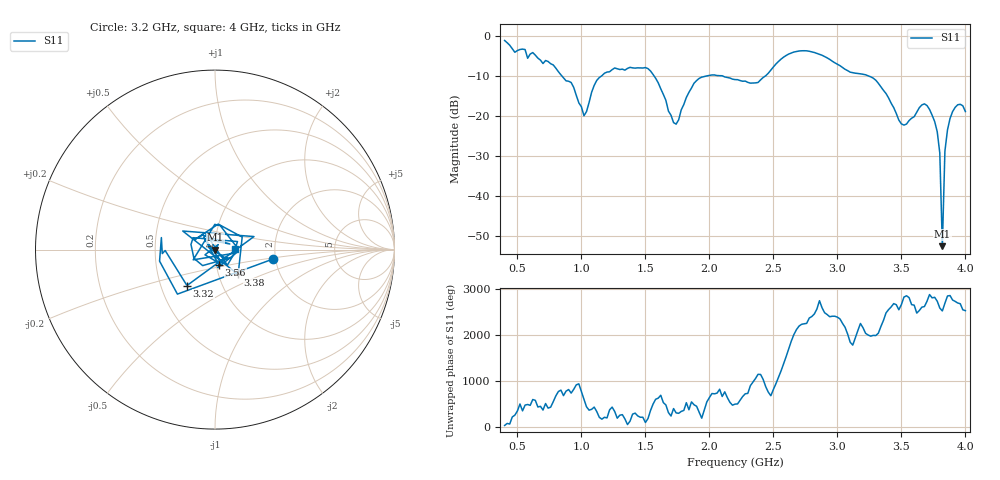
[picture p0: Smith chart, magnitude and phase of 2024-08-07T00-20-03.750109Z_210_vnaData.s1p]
!Created with skrf (http://scikit-rf.org).
# Hz S RI R 50.0
!freq ReS11 ImS11
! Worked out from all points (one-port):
!   181 points, 400 MHz to 4 GHz, reference 50 ohm
!   lowest |S11| = -52.6 dB at 3.82 GHz (marker M1), VSWR 1.00, Z = 50.2 - j0.0211 ohm
!   |S11| at or under -10 dB: 1.566 GHz to 1.99 GHz (424 MHz wide, 23.8 % of centre); 2.086 GHz to 2.441 GHz (354.4 MHz wide, 15.7 % of centre); 3.238 GHz to end of sweep (the widest 3 of 4)
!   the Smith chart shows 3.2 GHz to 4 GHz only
!   S11 on the Smith chart (normalised r, x): 3.2 GHz: 1.95, -0.23; 3.32 GHz: 0.68, -0.29; 3.38 GHz: 1.24, -0.36; 3.56 GHz: 1.03, -0.17; 4 GHz: 1.25, +0.01
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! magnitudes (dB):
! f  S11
! 400 MHz  -1.2
! 860 MHz  -10.5
! 920 MHz  -11.7
! 1.02 GHz  -20.0
! 1.12 GHz  -11.2
! 1.3 GHz  -8.5
! 1.52 GHz  -8.2
! 1.6 GHz  -11.8
! 1.72 GHz  -21.7
! 1.76 GHz  -21.0
! 1.92 GHz  -10.7
! 2.2 GHz  -11.0
! 2.38 GHz  -11.7
! 2.66 GHz  -4.1
! 3.1 GHz  -9.1
! 3.2 GHz  -9.6
! 3.32 GHz  -11.9
! 3.38 GHz  -14.5
! 3.5 GHz  -22.0
! 3.56 GHz  -21.2
! 3.68 GHz  -17.0
! 3.76 GHz  -21.5
! 3.8 GHz  -29.3
! 3.82 GHz  -52.6
! 3.84 GHz  -28.8
! 3.86 GHz  -23.6
! 3.92 GHz  -17.9
! 4 GHz  -19.0
